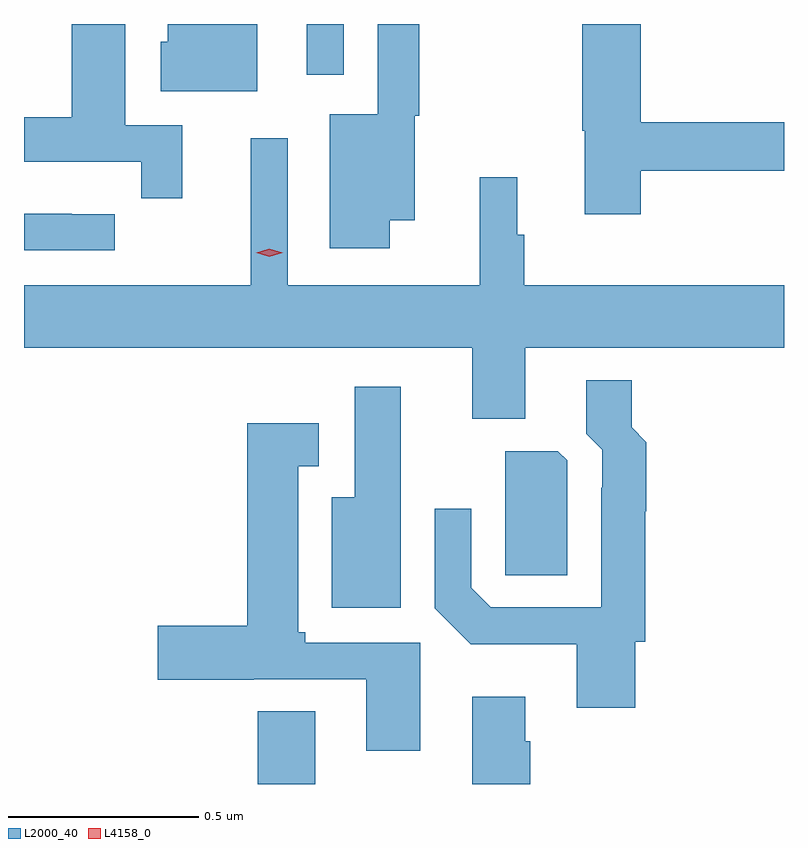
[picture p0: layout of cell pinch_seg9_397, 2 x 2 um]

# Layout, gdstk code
import gdstk
lib = gdstk.Library(unit=1e-6, precision=1e-09)
def R(c, l, rs):  # rectangles x0, y0, x1, y1
    for r in rs: c.add(gdstk.rectangle(r[:2], r[2:], *l))
def P(c, l, *ps):  # polygons
    for p in ps: c.add(gdstk.Polygon(p, *l))
L2000_40 = (2000, 40)
L4158_0 = (4158, 0)

pinch_seg9_397 = lib.new_cell('pinch_seg9_397')
R(pinch_seg9_397, L2000_40, [(266.609,1236.564,266.761,1236.755), (266.738,1238.43,266.835,1238.564)])
P(pinch_seg9_397, L2000_40, [(266.956,1238.048),(267.022,1238.048),(267.022,1238.322),(267.034,1238.322),(267.034,1238.564),(266.925,1238.564),(266.925,1238.326),(266.798,1238.326),(266.798,1237.974),(266.956,1237.974)],
  [(266.411,1238.298),(266.26,1238.298),(266.26,1238.564),(266.12,1238.564),(266.12,1238.319),(265.994,1238.319),(265.994,1238.202),(266.302,1238.202),(266.302,1238.106),(266.411,1238.106)],
  [(267.617,1238.178),(267.994,1238.178),(267.994,1238.306),(267.617,1238.306),(267.617,1238.564),(267.463,1238.564),(267.463,1238.283),(267.47,1238.283),(267.47,1238.064),(267.617,1238.064)],
  [(266.608,1238.564),(266.372,1238.564),(266.372,1238.517),(266.354,1238.517),(266.354,1238.387),(266.608,1238.387)],
  [(267.313,1237.712),(267.994,1237.712),(267.994,1237.876),(267.311,1237.876),(267.311,1238.01),(267.292,1238.01),(267.292,1238.161),(267.193,1238.161),(267.193,1237.876),(266.688,1237.876),(266.688,1238.263),(266.591,1238.263),(266.591,1237.876),(265.994,1237.876),(265.994,1237.712),(267.173,1237.712),(267.173,1237.525),(267.313,1237.525)],
  [(266.233,1238.064),(266.12,1238.064),(266.12,1238.065),(265.994,1238.065),(265.994,1237.968),(266.233,1237.968)],
  [(267.602,1236.939),(267.629,1236.939),(267.629,1237.282),(267.632,1237.282),(267.632,1237.464),(267.593,1237.503),(267.593,1237.627),(267.473,1237.627),(267.473,1237.486),(267.516,1237.443),(267.516,1237.343),(267.513,1237.343),(267.513,1237.029),(267.222,1237.029),(267.171,1237.08),(267.171,1237.288),(267.075,1237.288),(267.075,1237.026),(267.169,1236.932),(267.449,1236.932),(267.449,1236.765),(267.602,1236.765)],
  [(266.986,1237.609),(266.864,1237.609),(266.864,1237.318),(266.804,1237.318),(266.804,1237.028),(266.986,1237.028)],
  [(267.037,1236.936),(266.734,1236.936),(266.734,1236.963),(266.716,1236.963),(266.716,1237.4),(266.77,1237.4),(266.77,1237.513),(266.582,1237.513),(266.582,1236.98),(266.346,1236.98),(266.346,1236.838),(266.598,1236.838),(266.598,1236.84),(266.894,1236.84),(266.894,1236.651),(267.037,1236.651)],
  [(267.423,1237.416),(267.399,1237.44),(267.26,1237.44),(267.26,1237.225),(267.261,1237.225),(267.261,1237.114),(267.423,1237.114)],
  [(267.326,1236.677),(267.313,1236.677),(267.313,1236.793),(267.173,1236.793),(267.173,1236.564),(267.326,1236.564)])
P(pinch_seg9_397, L4158_0, [(266.64,1237.952),(266.605,1237.962),(266.605,1237.962),(266.605,1237.962),(266.64,1237.972),(266.675,1237.962),(266.675,1237.962),(266.675,1237.962)])

lib.write_gds('pinch_seg9_397.gds')
